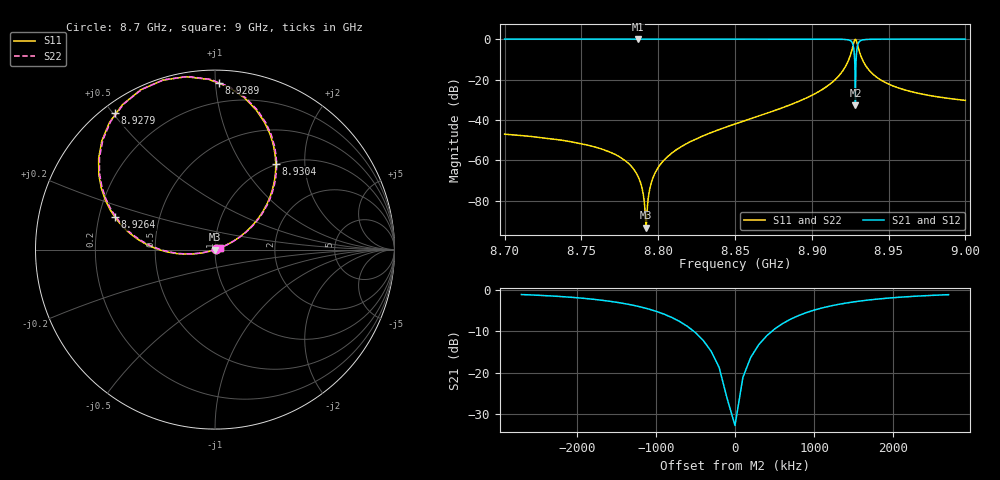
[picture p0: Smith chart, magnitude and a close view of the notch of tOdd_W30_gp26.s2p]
! Sonnet Data File
! From: emgraph Version : 16.52
! From Project: transmon_trial2
! Data is De-embedded
! Data File Written: 10/20/2017 10:41:09
!< HDATE 10/20/2017 09:51:02
!< MDATE 10/20/2017 09:51:02
!< PARAMS
!< Lj = 15.24
!< Gap = 26.0
!< Width = 30.0
!< Airgap = 18.0
!< Pwidth = 2000.0
!< END PARAMS
# GHZ S MA R 41.17000
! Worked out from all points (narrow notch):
!   3001 points, 8.7 GHz to 9 GHz, reference 41.17 ohm
!   highest |S21| = 0.00 dB at 8.7866 GHz (marker M1); lowest = -32.7 dB at 8.9284 GHz (marker M2)
!   notch at M2: 32.7 dB deep, 459 kHz wide at half that depth
!   lowest |S11| = -93.2 dB at 8.7921 GHz (marker M3), VSWR 1.00, Z = 41.2 - j0.0017 ohm
!   |S11| at or under -10 dB: start of sweep to 8.9242 GHz; 8.9329 GHz to end of sweep
!   |S22| runs from -95.8 to -0.1 dB; largest |S21 - S12| = 0
!   S11 on the Smith chart (normalised r, x): 8.7 GHz: 1.01, +0.00; 8.9264 GHz: 0.27, +0.15; 8.9279 GHz: 0.04, +0.51; 8.9289 GHz: 0.07, +1.02; 8.9304 GHz: 0.99, +1.43; 9 GHz: 1.06, +0.02
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8.7  0.004465 20.2  1 -69.8  1 -69.8  0.004465 20.1
!< P1 F=8.7 Eeff=(4.89554446 -6.0516e-5) Z0=(41.1855282 -1.5157e-4) R=0.0 C=0.0
!< P2 F=8.7 Eeff=(4.89554446 -6.0516e-5) Z0=(41.1855282 -1.5157e-4) R=0.0 C=0.0
8.75  0.002592 19.5  1 -70.3  1 -70.3  0.002592 19.8
8.7742  0.00127 18.7  1 -70.6  1 -70.6  0.00127 19.9
8.7866  0.0004239 16.6  1 -70.7  1 -70.7  0.0004237 21.2
8.7921  2.185e-05 -71.3  1 -70.8  1 -70.8  1.628e-05 109.8
8.7966  0.0003732 -157.2  1 -70.9  1 -70.9  0.0003729 -163.7
8.8  0.0006711 -158.8  1 -70.9  1 -70.9  0.0006709 -162.6
8.8165  0.00237 -160.3  1 -71.1  1 -71.1  0.00237 -161.8
8.85  0.007982 -161.3  1 -71.7  1 -71.7  0.007982 -162.1
8.9  0.0407 -163.7  0.9991 -74.0  0.9991 -74.0  0.0407 -164.4
8.9178  0.1259 -168.9  0.9918 -79.0  0.9918 -79.0  0.1259 -169.4
8.9242  0.3197 179.5  0.9462 -90.5  0.9462 -90.5  0.3197 179.0
8.9264  0.5854 162.1  0.8056 -107.7  0.8056 -107.7  0.5854 161.5
8.9271  0.7446 149.5  0.6574 -120.0  0.6574 -120.0  0.7446 148.9
8.9279  0.9409 126.2  0.306 -142.0  0.306 -142.0  0.9409 125.6
8.9284  0.9881 107.2  0.02326 -13.2  0.02326 -13.2  0.9881 106.7
8.9289  0.9303 88.6  0.3381 -3.5  0.3381 -3.5  0.9303 88.1
8.9304  0.5852 54.7  0.806 -36.1  0.806 -36.1  0.5852 54.1
8.9321  0.3707 40.4  0.9271 -50.2  0.9271 -50.2  0.3707 39.8
8.9348  0.2298 31.8  0.9726 -58.7  0.9726 -58.7  0.2298 31.2
8.95  0.07727 22.7  0.9969 -67.6  0.9969 -67.6  0.07727 22.1
9  0.03053 19.5  0.9995 -70.7  0.9995 -70.7  0.03053 19.0
